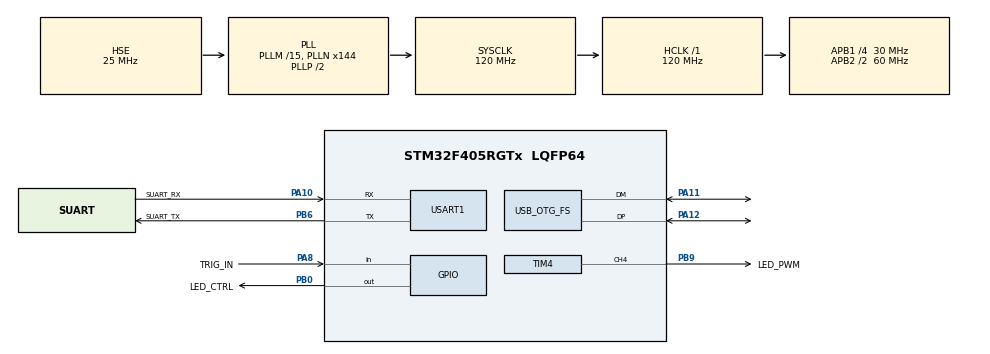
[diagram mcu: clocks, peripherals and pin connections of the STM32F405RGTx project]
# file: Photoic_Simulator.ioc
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Mcu.Family=STM32F4
Mcu.Name=STM32F405RGTx
Mcu.Package=LQFP64
NVIC.OTG_FS_IRQn=true\:0\:0\:false\:false\:true\:false\:true\:true
NVIC.PriorityGroup=NVIC_PRIORITYGROUP_4
PA10.GPIO_Label=SUART_RX
PA10.Mode=Asynchronous
PA10.Signal=USART1_RX
PA11.Mode=Device_Only
PA11.Signal=USB_OTG_FS_DM
PA12.Mode=Device_Only
PA12.Signal=USB_OTG_FS_DP
PA13.Mode=Serial_Wire
PA13.Signal=SYS_JTMS-SWDIO
PA14.Mode=Serial_Wire
PA14.Signal=SYS_JTCK-SWCLK
PA8.GPIO_Label=TRIG_IN
PA8.Signal=GPIO_Input
PB0.GPIO_Label=LED_CTRL
PB0.Signal=GPIO_Output
PB6.GPIO_Label=SUART_TX
PB6.Mode=Asynchronous
PB6.Signal=USART1_TX
PB9.GPIO_Label=LED_PWM
PB9.Signal=S_TIM4_CH4
PH0-OSC_IN.Mode=HSE-External-Oscillator
PH0-OSC_IN.Signal=RCC_OSC_IN
PH1-OSC_OUT.Mode=HSE-External-Oscillator
PH1-OSC_OUT.Signal=RCC_OSC_OUT
ProjectManager.HeapSize=0x200
ProjectManager.StackSize=0x400
ProjectManager.TargetToolchain=STM32CubeIDE
RCC.48MHZClocksFreq_Value=48000000
RCC.AHBFreq_Value=120000000
RCC.APB1CLKDivider=RCC_HCLK_DIV4
RCC.APB1Freq_Value=30000000
RCC.APB1TimFreq_Value=60000000
RCC.APB2CLKDivider=RCC_HCLK_DIV2
RCC.APB2Freq_Value=60000000
RCC.APB2TimFreq_Value=120000000
RCC.CortexFreq_Value=120000000
RCC.HCLKFreq_Value=120000000
RCC.HSE_VALUE=25000000
RCC.HSI_VALUE=16000000
RCC.LSE_VALUE=32768
RCC.PLLM=15
RCC.PLLN=144
RCC.PLLQ=5
RCC.SYSCLKFreq_VALUE=120000000
RCC.SYSCLKSource=RCC_SYSCLKSOURCE_PLLCLK
RCC.VCOOutputFreq_Value=240000000
SH.S_TIM4_CH4.0=TIM4_CH4,PWM Generation4 CH4
TIM4.AutoReloadPreload=TIM_AUTORELOAD_PRELOAD_ENABLE
TIM4.Channel-PWM\ Generation4\ CH4=TIM_CHANNEL_4
TIM4.Period=749
TIM4.Prescaler=0
TIM7.Prescaler=74
USART1.VirtualMode=VM_ASYNC
USB_DEVICE.CLASS_NAME_FS=CDC
USB_DEVICE.VirtualMode-CDC_FS=Cdc
USB_DEVICE.VirtualModeFS=Cdc_FS
USB_OTG_FS.VirtualMode=Device_Only
VP_TIM4_VS_ClockSourceINT.Mode=Internal
VP_TIM7_VS_ClockSourceINT.Mode=Enable_Timer
VP_USB_DEVICE_VS_USB_DEVICE_CDC_FS.Mode=CDC_FS
board=custom

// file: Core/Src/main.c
/* USER CODE BEGIN Header */
/**
 ******************************************************************************
 * @file           : main.c
 * @brief          : Main program body
 ******************************************************************************
 * @attention
 *
 * Copyright (c) 2025 STMicroelectronics.
 * All rights reserved.
 *
 * This software is licensed under terms that can be found in the LICENSE file
 * in the root directory of this software component.
 * If no LICENSE file comes with this software, it is provided AS-IS.
 *
 *First appropriate communication with pc software made by hanyoung kang
 ******************************************************************************
 */
/* USER CODE END Header */
#include "main.h"
#include "usb_device.h"

/* USER CODE BEGIN Includes */
#include <stdio.h>
#include <string.h>
#include "LED_Brightness_CTRL.h"
/* USER CODE END Includes */

TIM_HandleTypeDef htim4;
TIM_HandleTypeDef htim7;

UART_HandleTypeDef huart1;

/* USER CODE BEGIN PV */
// 1. USB 통신용
volatile uint8_t usb_data_received = 0;
uint8_t rx_buffer[64]; // 수신 버퍼 (Raw Data)

// 2. Heartbeat & Safety
uint32_t last_hb_received_tick = 0; // 마지막으로 Host 연락 받은 시간

// 3. Photic Stimulator 구조체 (확장됨)
typedef struct {
	uint8_t is_running;       // 동작 중? (1:ON, 0:OFF)
	uint32_t freq_hz;         // 주파수
	uint32_t intensity;       // [NEW] 빛 세기 (1~10)
	uint32_t flash_duration;  // [NEW] 점등 시간 (ms)

	uint32_t start_tick;
	uint32_t duration_ms;
	uint32_t last_toggle_tick;
	uint32_t period_ms;
	uint8_t led_state;

	uint8_t error_code;       // [NEW] 에러 코드 (0:정상, 1:타임아웃 등)
	uint8_t ext_trig_state;   // [NEW] PA8 핀 상태
} PhoticStimulator_t;

PhoticStimulator_t photic = { 0 };

// 상수 정의 (프로토콜 규격)
#define SOP 0x1C
#define EOP 0x0D
#define CMD_HEARTBEAT 0x68
/* USER CODE END PV */

void SystemClock_Config(void);
static void MX_GPIO_Init(void);
static void MX_USART1_UART_Init(void);
static void MX_TIM4_Init(void);
static void MX_TIM7_Init(void);
/* USER CODE BEGIN PFP */

void Run_Photic_Sequence(uint32_t freq_hz, uint32_t duration_sec);
void Update_Photic_Sequence();

/* USER CODE END PFP */

int main(void) {

	/* MCU Configuration--------------------------------------------------------*/

	/* Reset of all peripherals, Initializes the Flash interface and the Systick. */
	HAL_Init();

	/* Configure the system clock */
	SystemClock_Config();

	/* Initialize all configured peripherals */
	MX_GPIO_Init();
	MX_USART1_UART_Init();
	MX_TIM4_Init();
	MX_TIM7_Init();
	MX_USB_DEVICE_Init();
	/* USER CODE BEGIN 2 */
	// 1. 스톱워치용 타이머(TIM7) 켜기
	HAL_TIM_Base_Start(&htim7);
	HAL_GPIO_WritePin(GPIOB, GPIO_PIN_0, GPIO_PIN_SET); // LED 5V ON
	LED_Set_Brightness_10kHz(BRIGHTNESS_30); // 밝기 설정

	/* USER CODE END 2 */

	/* Infinite loop */
	/* USER CODE BEGIN WHILE */
	last_hb_received_tick = HAL_GetTick();
	while (1) {
		uint32_t current_time = HAL_GetTick();

		// [Task 1] USB 패킷 처리
		if (usb_data_received == 1) {
			Parse_Heartbeat_Packet(rx_buffer); // 해석하고 -> 세팅하고 -> 응답 보냄
			usb_data_received = 0; // 깃발 내리기
		}

		// [Task 2] Fail-safe (Heartbeat Timeout 감시)
		// 규격: 2초 이상 수신 없으면 정지
		if (current_time - last_hb_received_tick > 2000) {
			if (photic.error_code != 1) { // 에러가 아닐 때만 진입 (반복 실행 방지)
				photic.is_running = 0;       // 동작 정지
				HAL_TIM_PWM_Stop(&htim4, TIM_CHANNEL_4); // PWM 끄기
				photic.error_code = 1;       // 에러 1: Timeout 설정
			}
		}

		// [Task 3] LED 깜빡임 제어
		Update_Photic_Sequence();

	}
	/* USER CODE END WHILE */

}

void SystemClock_Config(void) {
	RCC_OscInitTypeDef RCC_OscInitStruct = { 0 };
	RCC_ClkInitTypeDef RCC_ClkInitStruct = { 0 };

	/** Configure the main internal regulator output voltage
	 */
	__HAL_RCC_PWR_CLK_ENABLE();
	__HAL_PWR_VOLTAGESCALING_CONFIG(PWR_REGULATOR_VOLTAGE_SCALE1);

	/** Initializes the RCC Oscillators according to the specified parameters
	 * in the RCC_OscInitTypeDef structure.
	 */
	RCC_OscInitStruct.OscillatorType = RCC_OSCILLATORTYPE_HSE;
	RCC_OscInitStruct.HSEState = RCC_HSE_ON;
	RCC_OscInitStruct.PLL.PLLState = RCC_PLL_ON;
	RCC_OscInitStruct.PLL.PLLSource = RCC_PLLSOURCE_HSE;
	RCC_OscInitStruct.PLL.PLLM = 15;
	RCC_OscInitStruct.PLL.PLLN = 144;
	RCC_OscInitStruct.PLL.PLLP = RCC_PLLP_DIV2;
	RCC_OscInitStruct.PLL.PLLQ = 5;
	if (HAL_RCC_OscConfig(&RCC_OscInitStruct) != HAL_OK) {
		Error_Handler();
	}

	/** Initializes the CPU, AHB and APB buses clocks
	 */
	RCC_ClkInitStruct.ClockType = RCC_CLOCKTYPE_HCLK | RCC_CLOCKTYPE_SYSCLK
			| RCC_CLOCKTYPE_PCLK1 | RCC_CLOCKTYPE_PCLK2;
	RCC_ClkInitStruct.SYSCLKSource = RCC_SYSCLKSOURCE_PLLCLK;
	RCC_ClkInitStruct.AHBCLKDivider = RCC_SYSCLK_DIV1;
	RCC_ClkInitStruct.APB1CLKDivider = RCC_HCLK_DIV4;
	RCC_ClkInitStruct.APB2CLKDivider = RCC_HCLK_DIV2;

	if (HAL_RCC_ClockConfig(&RCC_ClkInitStruct, FLASH_LATENCY_3) != HAL_OK) {
		Error_Handler();
	}
}

static void MX_TIM4_Init(void) {

	TIM_ClockConfigTypeDef sClockSourceConfig = { 0 };
	TIM_MasterConfigTypeDef sMasterConfig = { 0 };
	TIM_OC_InitTypeDef sConfigOC = { 0 };

	htim4.Instance = TIM4;
	htim4.Init.Prescaler = 0;
	htim4.Init.CounterMode = TIM_COUNTERMODE_UP;
	htim4.Init.Period = 749;
	htim4.Init.ClockDivision = TIM_CLOCKDIVISION_DIV1;
	htim4.Init.AutoReloadPreload = TIM_AUTORELOAD_PRELOAD_ENABLE;
	if (HAL_TIM_Base_Init(&htim4) != HAL_OK) {
		Error_Handler();
	}
	sClockSourceConfig.ClockSource = TIM_CLOCKSOURCE_INTERNAL;
	if (HAL_TIM_ConfigClockSource(&htim4, &sClockSourceConfig) != HAL_OK) {
		Error_Handler();
	}
	if (HAL_TIM_PWM_Init(&htim4) != HAL_OK) {
		Error_Handler();
	}
	sMasterConfig.MasterOutputTrigger = TIM_TRGO_RESET;
	sMasterConfig.MasterSlaveMode = TIM_MASTERSLAVEMODE_DISABLE;
	if (HAL_TIMEx_MasterConfigSynchronization(&htim4, &sMasterConfig)
			!= HAL_OK) {
		Error_Handler();
	}
	sConfigOC.OCMode = TIM_OCMODE_PWM1;
	sConfigOC.Pulse = 0;
	sConfigOC.OCPolarity = TIM_OCPOLARITY_HIGH;
	sConfigOC.OCFastMode = TIM_OCFAST_DISABLE;
	if (HAL_TIM_PWM_ConfigChannel(&htim4, &sConfigOC, TIM_CHANNEL_4)
			!= HAL_OK) {
		Error_Handler();
	}
	HAL_TIM_MspPostInit(&htim4);

}

static void MX_TIM7_Init(void) {

	TIM_MasterConfigTypeDef sMasterConfig = { 0 };

	htim7.Instance = TIM7;
	htim7.Init.Prescaler = 74;
	htim7.Init.CounterMode = TIM_COUNTERMODE_UP;
	htim7.Init.Period = 65535;
	htim7.Init.AutoReloadPreload = TIM_AUTORELOAD_PRELOAD_DISABLE;
	if (HAL_TIM_Base_Init(&htim7) != HAL_OK) {
		Error_Handler();
	}
	sMasterConfig.MasterOutputTrigger = TIM_TRGO_RESET;
	sMasterConfig.MasterSlaveMode = TIM_MASTERSLAVEMODE_DISABLE;
	if (HAL_TIMEx_MasterConfigSynchronization(&htim7, &sMasterConfig)
			!= HAL_OK) {
		Error_Handler();
	}

}

static void MX_USART1_UART_Init(void) {

	huart1.Instance = USART1;
	huart1.Init.BaudRate = 115200;
	huart1.Init.WordLength = UART_WORDLENGTH_8B;
	huart1.Init.StopBits = UART_STOPBITS_1;
	huart1.Init.Parity = UART_PARITY_NONE;
	huart1.Init.Mode = UART_MODE_TX_RX;
	huart1.Init.HwFlowCtl = UART_HWCONTROL_NONE;
	huart1.Init.OverSampling = UART_OVERSAMPLING_16;
	if (HAL_UART_Init(&huart1) != HAL_OK) {
		Error_Handler();
	}

}

static void MX_GPIO_Init(void) {
	GPIO_InitTypeDef GPIO_InitStruct = { 0 };

	/* GPIO Ports Clock Enable */
	__HAL_RCC_GPIOH_CLK_ENABLE();
	__HAL_RCC_GPIOB_CLK_ENABLE();
	__HAL_RCC_GPIOA_CLK_ENABLE();

	/*Configure GPIO pin Output Level */
	HAL_GPIO_WritePin(LED_CTRL_GPIO_Port, LED_CTRL_Pin, GPIO_PIN_RESET);

	/*Configure GPIO pin : LED_CTRL_Pin */
	GPIO_InitStruct.Pin = LED_CTRL_Pin;
	GPIO_InitStruct.Mode = GPIO_MODE_OUTPUT_PP;
	GPIO_InitStruct.Pull = GPIO_NOPULL;
	GPIO_InitStruct.Speed = GPIO_SPEED_FREQ_LOW;
	HAL_GPIO_Init(LED_CTRL_GPIO_Port, &GPIO_InitStruct);

	/*Configure GPIO pin : TRIG_IN_Pin */
	GPIO_InitStruct.Pin = TRIG_IN_Pin;
	GPIO_InitStruct.Mode = GPIO_MODE_INPUT;
	GPIO_InitStruct.Pull = GPIO_NOPULL;
	HAL_GPIO_Init(TRIG_IN_GPIO_Port, &GPIO_InitStruct);

}

/* USER CODE BEGIN 4 */

// [기능 1] Device -> Host 상태 응답 전송 (14 Bytes)
void Send_Status_Response() {
	uint8_t packet[14];

	// [0] SOP
	packet[0] = SOP;
	// [1] ID ('h')
	packet[1] = CMD_HEARTBEAT;
	// [2] Freq (+0x20 인코딩)
	packet[2] = photic.freq_hz + 0x20;
	// [3] Duration (고정 0x20)
	packet[3] = 0x20;
	// [4] Intensity (+0x20)
	packet[4] = photic.intensity + 0x20;
	// [5] Flash Duration (+0x20)
	packet[5] = photic.flash_duration + 0x20;

	// [6] Status Flags
	// Bit 0: Active, Bit 1: Standby, Bit 2: Force Stop, Bit 3: Error
	uint8_t status = 0;
	if (photic.is_running)
		status |= (1 << 0); // Active
	else
		status |= (1 << 1);                   // Standby

	if (photic.error_code != 0)
		status |= (1 << 3); // Error Present
	packet[6] = status;

	// [7] External Trigger (PA8 상태 읽기)
	// PA8이 High면 1, Low면 0
	photic.ext_trig_state = HAL_GPIO_ReadPin(GPIOA, GPIO_PIN_8);
	packet[7] = photic.ext_trig_state;

	// [8] Error Code
	packet[8] = photic.error_code;

	// [9] SW Version (예: 1.0 -> 0x10)
	packet[9] = 0x10;

	// [10~12] Spare
	packet[10] = 0;
	packet[11] = 0;
	packet[12] = 0;

	// [13] EOP
	packet[13] = EOP;

	// 전송!
	CDC_Transmit_FS(packet, 14);
}

// [기능 2] Host 패킷 해석 (Parsing) 및 제어
void Parse_Heartbeat_Packet(uint8_t *data) {
	// 1. 유효성 검사 (SOP, EOP 확인)
	if (data[0] != SOP || data[1] != CMD_HEARTBEAT || data[11] != EOP)
		return;

	// 2. Heartbeat 수신 인정 (타임아웃 리셋)
	last_hb_received_tick = HAL_GetTick();
	if (photic.error_code == 1)
		photic.error_code = 0; // 타임아웃 에러 해제
	// 3. 제어 플래그 확인
	uint8_t ctrl_flag = data[6];
	uint8_t force_stop = (ctrl_flag >> 1) & 0x01;
	uint8_t enable = (ctrl_flag >> 0) & 0x01;

	if (force_stop) {
		photic.is_running = 0;
		HAL_TIM_PWM_Stop(&htim4, TIM_CHANNEL_4);
	} else if (enable) {
		// [수정된 부분] 동작 설정 업데이트
		uint32_t new_freq = data[2] - 0x20;
		uint32_t new_intensity = data[4] - 0x20; // 1 ~ 10 값
		uint32_t new_flash = data[5] - 0x20;

		// 값 업데이트
		photic.freq_hz = new_freq;
		photic.flash_duration = new_flash;

		// ★★★ 여기서 실제 밝기 적용! ★★★
		// 값이 바뀌었을 때만 함수를 호출해서 CPU 낭비를 줄입니다.
		if (photic.intensity != new_intensity) {
			photic.intensity = new_intensity;

			// Protocol(1~10) -> PWM(10~100%) 변환
			// 예: 5 -> 50%
			LED_Set_Brightness_10kHz(photic.intensity * 10);
		}

		// 주기 재계산
		if (photic.freq_hz > 0)
			photic.period_ms = 1000 / photic.freq_hz;
		else
			photic.period_ms = 1000;

		// 시작 플래그가 꺼져 있었다면 시작
		if (photic.is_running == 0) {
			photic.is_running = 1;
			photic.start_tick = HAL_GetTick();
			photic.last_toggle_tick = HAL_GetTick();

			// 시작할 때도 현재 밝기로 확실하게 세팅하고 켬
			LED_Set_Brightness_10kHz(photic.intensity * 10);
			HAL_TIM_PWM_Start(&htim4, TIM_CHANNEL_4);
			photic.led_state = 1;
		}
	} else {
		// 일반 정지
		photic.is_running = 0;
		HAL_TIM_PWM_Stop(&htim4, TIM_CHANNEL_4);
	}

	// 4. 응답 전송 (그대로)
	Send_Status_Response();

}

// [기능 3] LED 제어 (Non-blocking)
void Update_Photic_Sequence() {
	if (photic.is_running == 0)
		return;

	uint32_t current_tick = HAL_GetTick();

	// 깜빡임 로직
	if (photic.led_state == 1) { // 켜짐 상태
		// 설정된 Flash Duration 만큼 켜짐
		if (current_tick - photic.last_toggle_tick >= photic.flash_duration) {
			HAL_TIM_PWM_Stop(&htim4, TIM_CHANNEL_4);
			photic.led_state = 0;
			// last_toggle_tick은 갱신하지 않음 (주기 유지를 위해)
		}
	} else { // 꺼짐 상태
		if (current_tick - photic.last_toggle_tick >= photic.period_ms) {
			HAL_TIM_PWM_Start(&htim4, TIM_CHANNEL_4);
			photic.led_state = 1;
			photic.last_toggle_tick = current_tick;
		}
	}
}

// [기능 4] USB 수신 핸들러
void USB_CDC_RxHandler(uint8_t *Buf, uint32_t Len) {
	// 12바이트 패킷 복사
	if (Len >= 12) {
		memcpy(rx_buffer, Buf, 12);
		usb_data_received = 1; // 깃발 들기
	}
}

int _write(int file, char *ptr, int len) // printf 함수가 호출되면 _write 함수가 호출되고 _write 함수가 다시 __io_putchar 함수를 호출하는 구조
{
//	USART1 디버거로 보내는 코드
//    // 만약 USART2를 쓴다면 &huart2 로 변경하세요!
//    HAL_UART_Transmit(&huart1, (uint8_t *)ptr, len, 10);
//    return len;

//	USB CDC 로 송신하는 코드
	CDC_Transmit_FS((uint8_t*) ptr, len);
	return len;
}

// [TIM7 기반 정밀 딜레이] 절대 안 멈춤
void Delay_us(uint16_t us) {
	// 1. 카운터를 0으로 리셋
	__HAL_TIM_SET_COUNTER(&htim7, 0);

	// 2. 시간이 될 때까지 기다림 (TIM7은 1us마다 1씩 증가함)
	while (__HAL_TIM_GET_COUNTER(&htim7) < us)
		;
}

//
//void Start_Photic_Sequence(uint32_t freq_hz, uint32_t duration_sec) {
//
//    // [수정됨] 1. 주파수 유효성 검사 (Safety Filter)
//    // 허용된 주파수가 아니면 무조건 1Hz로 고정합니다.
//    switch (freq_hz) {
//        case 1: case 3: case 5: case 10:
//        case 13: case 15: case 20: case 25: case 30:
//            // 유효한 주파수임. 통과!
//            break;
//        default:
//            // 목록에 없는 값이거나 0이 들어오면 기본값 1Hz로 변경
//            freq_hz = 1;
//            break;
//    }
//
//    // 2. 설정값 저장
//    photic.freq_hz = freq_hz;
//    photic.duration_ms = duration_sec * 1000;
//
//    // 3. 주기 계산 (정수 나눗셈)
//    // 예: 13Hz -> 1000 / 13 = 76ms (약간의 오차는 있지만 허용 범위)
//    photic.period_ms = 1000 / freq_hz;
//    photic.on_time_ms = 10; // 광자극 표준 10ms
//
//    // 방어 코드: 주기가 너무 짧아서 꺼질 틈이 없는 경우 보정
//    if (photic.period_ms <= photic.on_time_ms) {
//        photic.period_ms = photic.on_time_ms + 1;
//    }
//
//    // 4. 타이밍 초기화 및 시작
//    photic.start_tick = HAL_GetTick();       // 전체 동작 시작 시간
//    photic.last_toggle_tick = HAL_GetTick(); // 깜빡임 기준 시간
//    photic.is_running = 1;                   // 작동 플래그 ON
//
//    // 5. 즉시 시작 (첫 번째 펄스)
//    HAL_TIM_PWM_Start(&htim4, TIM_CHANNEL_4);
//    photic.led_state = 1; // 켜짐 상태로 시작
//}

/* USER CODE END 4 */

void Error_Handler(void) {
	__disable_irq();
	while (1) {
	}
}
